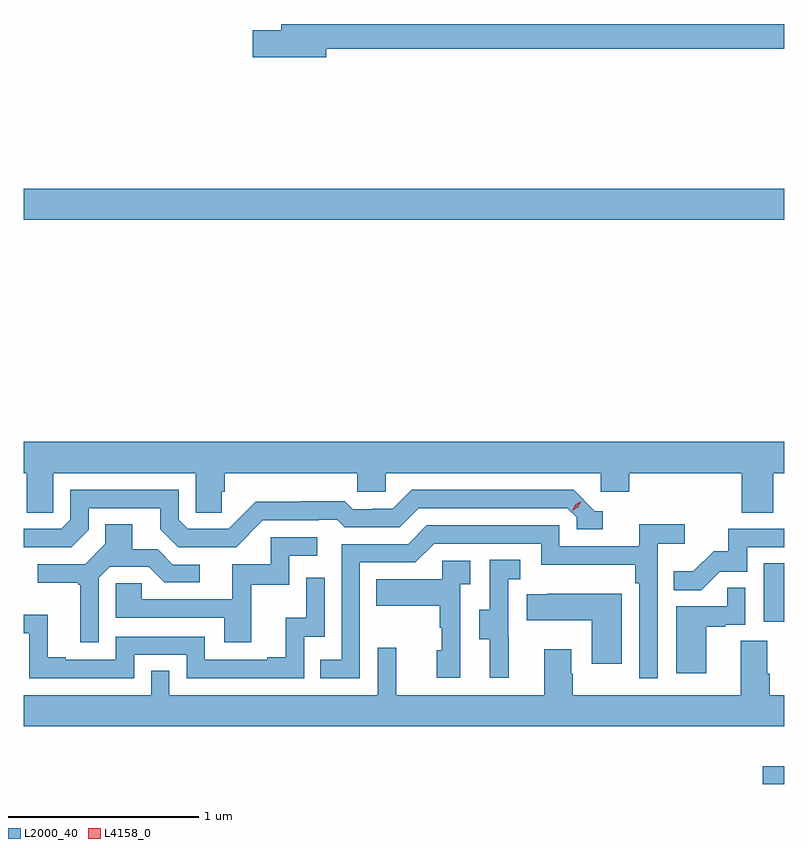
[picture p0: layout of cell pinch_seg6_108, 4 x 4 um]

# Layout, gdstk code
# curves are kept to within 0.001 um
import gdstk
lib = gdstk.Library(unit=1e-6, precision=1e-09)
def R(c, l, rs):  # rectangles x0, y0, x1, y1
    for r in rs: c.add(gdstk.rectangle(r[:2], r[2:], *l))
def P(c, l, *ps):  # polygons
    for p in ps: c.add(gdstk.Polygon(p, *l))
L2000_40 = (2000, 40)
L4158_0 = (4158, 0)

pinch_seg6_108 = lib.new_cell('pinch_seg6_108')
R(pinch_seg6_108, L2000_40, [(891.74,917.728,891.852,917.821), (891.746,918.582,891.852,918.889), (887.852,920.696,891.852,920.86)])
P(pinch_seg6_108, L2000_40, [(889.444,921.598),(891.852,921.598),(891.852,921.727),(889.205,921.727),(889.205,921.693),(889.056,921.693),(889.056,921.551),(889.444,921.551)],
  [(887.852,919.364),(887.867,919.364),(887.867,919.156),(888.006,919.156),(888.006,919.364),(888.756,919.364),(888.756,919.156),(888.893,919.156),(888.893,919.266),(888.908,919.266),(888.908,919.364),(889.605,919.364),(889.605,919.266),(889.755,919.266),(889.755,919.364),(890.886,919.364),(890.886,919.266),(891.038,919.266),(891.038,919.364),(891.629,919.364),(891.629,919.156),(891.794,919.156),(891.794,919.364),(891.852,919.364),(891.852,919.528),(887.852,919.528)],
  [(887.886,918.975),(888.102,918.975),(888.192,919.065),(888.192,919.179),(888.569,919.179),(888.569,919.069),(888.663,918.975),(888.969,918.975),(889.11,919.116),(889.403,919.116),(889.403,919.119),(889.502,919.119),(889.541,919.08),(889.83,919.08),(889.929,919.179),(890.712,919.179),(890.76,919.131),(890.76,919.068),(890.899,919.068),(890.899,919.164),(890.856,919.164),(890.745,919.275),(889.892,919.275),(889.793,919.176),(889.686,919.176),(889.686,919.173),(889.583,919.173),(889.541,919.216),(889.308,919.216),(889.308,919.213),(889.072,919.213),(888.93,919.071),(888.714,919.071),(888.666,919.119),(888.666,919.275),(888.096,919.275),(888.096,919.119),(888.048,919.071),(887.852,919.071),(887.852,918.974)],
  [(888.246,918.813),(888.303,918.87),(888.509,918.87),(888.59,918.789),(888.778,918.789),(888.778,918.882),(888.636,918.882),(888.556,918.962),(888.421,918.962),(888.421,919.094),(888.281,919.094),(888.281,918.992),(888.174,918.885),(887.925,918.885),(887.925,918.788),(888.138,918.788),(888.138,918.777),(888.149,918.777),(888.149,918.474),(888.246,918.474)],
  [(889.62,918.894),(889.911,918.894),(890.01,918.993),(890.574,918.993),(890.574,918.881),(891.07,918.881),(891.07,918.785),(891.09,918.785),(891.09,918.285),(891.186,918.285),(891.186,918.992),(891.328,918.992),(891.328,919.094),(891.089,919.094),(891.089,918.978),(890.67,918.978),(890.67,919.089),(889.973,919.089),(889.874,918.99),(889.524,918.99),(889.524,918.381),(889.411,918.381),(889.411,918.285),(889.62,918.285)],
  [(891.513,918.846),(891.657,918.846),(891.657,918.975),(891.852,918.975),(891.852,919.071),(891.559,919.071),(891.559,918.954),(891.482,918.954),(891.375,918.847),(891.271,918.847),(891.271,918.748),(891.415,918.748)],
  [(889.049,918.777),(889.248,918.777),(889.248,918.93),(889.396,918.93),(889.396,919.026),(889.152,919.026),(889.152,918.885),(888.947,918.885),(888.947,918.699),(888.473,918.699),(888.473,918.783),(888.336,918.783),(888.336,918.603),(888.905,918.603),(888.905,918.474),(889.049,918.474)],
  [(890.402,918.501),(890.4,918.501),(890.4,918.805),(890.464,918.805),(890.464,918.908),(890.304,918.908),(890.304,918.645),(890.249,918.645),(890.249,918.49),(890.303,918.49),(890.303,918.288),(890.402,918.288)],
  [(890.148,918.779),(890.2,918.779),(890.2,918.903),(890.052,918.903),(890.052,918.805),(889.705,918.805),(889.705,918.665),(890.04,918.665),(890.04,918.551),(890.05,918.551),(890.05,918.432),(890.024,918.432),(890.024,918.288),(890.148,918.288)],
  [(888.432,918.408),(888.708,918.408),(888.708,918.285),(889.326,918.285),(889.326,918.504),(889.434,918.504),(889.434,918.814),(889.338,918.814),(889.338,918.602),(889.229,918.602),(889.229,918.394),(889.133,918.394),(889.133,918.381),(888.804,918.381),(888.804,918.504),(888.336,918.504),(888.336,918.381),(888.073,918.381),(888.073,918.394),(887.977,918.394),(887.977,918.619),(887.852,918.619),(887.852,918.521),(887.88,918.521),(887.88,918.285),(888.432,918.285)],
  [(891.442,918.555),(891.542,918.555),(891.542,918.567),(891.648,918.567),(891.648,918.761),(891.553,918.761),(891.553,918.663),(891.284,918.663),(891.284,918.312),(891.442,918.312)],
  [(890.998,918.73),(890.605,918.73),(890.605,918.727),(890.497,918.727),(890.497,918.59),(890.84,918.59),(890.84,918.36),(890.998,918.36)],
  [(890.591,918.436),(890.591,918.196),(889.811,918.196),(889.811,918.445),(889.713,918.445),(889.713,918.196),(888.618,918.196),(888.618,918.323),(888.522,918.323),(888.522,918.196),(887.852,918.196),(887.852,918.032),(891.852,918.032),(891.852,918.196),(891.776,918.196),(891.776,918.308),(891.763,918.308),(891.763,918.482),(891.623,918.482),(891.623,918.196),(890.739,918.196),(890.739,918.308),(890.731,918.308),(890.731,918.436)])
P(pinch_seg6_108, L4158_0, [(890.736,919.165),(890.736,919.166),(890.753,919.198),(890.784,919.216),(890.784,919.216),(890.784,919.216),(890.767,919.184),(890.736,919.165)])

lib.write_gds('pinch_seg6_108.gds')
